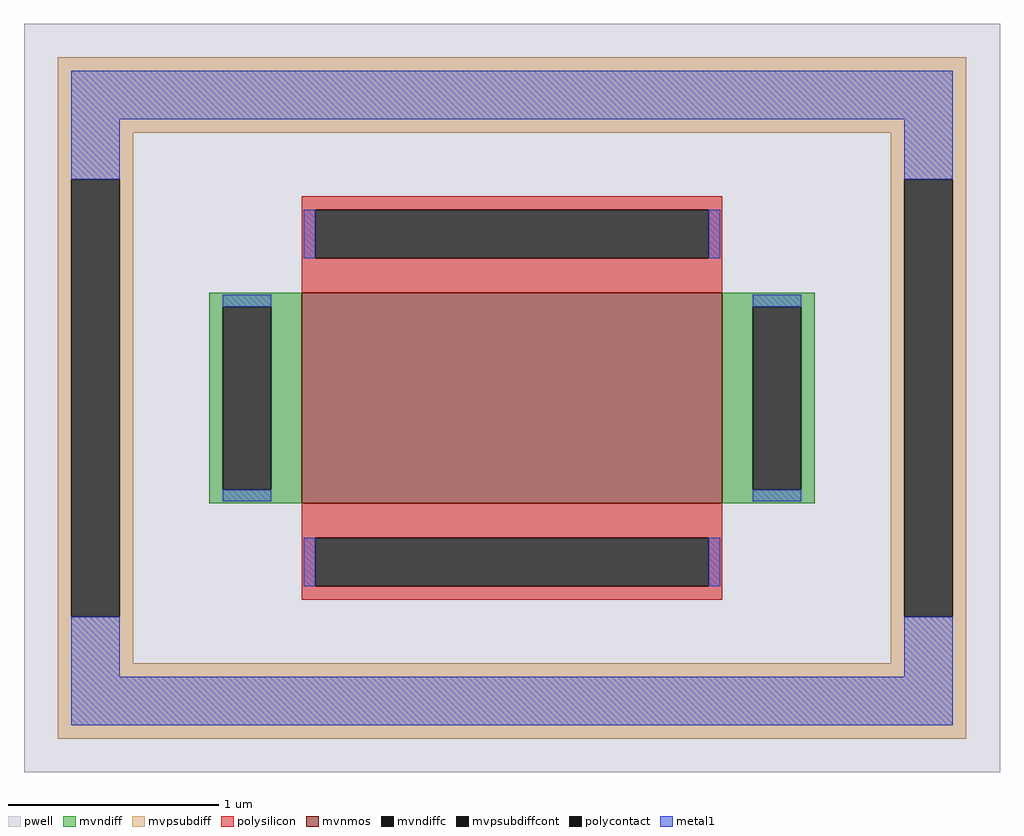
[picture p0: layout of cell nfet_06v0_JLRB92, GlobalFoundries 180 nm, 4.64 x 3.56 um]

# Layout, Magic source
magic
tech gf180mcuD
magscale 1 10
<< pwell >>
rect -464 -356 464 356
<< mvnmos >>
rect -200 -100 200 100
<< mvndiff >>
rect -288 87 -200 100
rect -288 -87 -275 87
rect -229 -87 -200 87
rect -288 -100 -200 -87
rect 200 87 288 100
rect 200 -87 229 87
rect 275 -87 288 87
rect 200 -100 288 -87
<< mvndiffc >>
rect -275 -87 -229 87
rect 229 -87 275 87
<< mvpsubdiff >>
rect -432 252 432 324
rect -432 208 -360 252
rect -432 -208 -419 208
rect -373 -208 -360 208
rect 360 208 432 252
rect -432 -252 -360 -208
rect 360 -208 373 208
rect 419 -208 432 208
rect 360 -252 432 -208
rect -432 -324 432 -252
<< mvpsubdiffcont >>
rect -419 -208 -373 208
rect 373 -208 419 208
<< polysilicon >>
rect -200 179 200 192
rect -200 133 -187 179
rect 187 133 200 179
rect -200 100 200 133
rect -200 -133 200 -100
rect -200 -179 -187 -133
rect 187 -179 200 -133
rect -200 -192 200 -179
<< polycontact >>
rect -187 133 187 179
rect -187 -179 187 -133
<< metal1 >>
rect -419 265 419 311
rect -419 208 -373 265
rect 373 208 419 265
rect -198 133 -187 179
rect 187 133 198 179
rect -275 87 -229 98
rect -275 -98 -229 -87
rect 229 87 275 98
rect 229 -98 275 -87
rect -198 -179 -187 -133
rect 187 -179 198 -133
rect -419 -265 -373 -208
rect 373 -265 419 -208
rect -419 -311 419 -265
<< properties >>
string FIXED_BBOX -396 -288 396 288
string gencell nfet_06v0
string library gf180mcu
string parameters w 1.0 l 2.0 m 1 nf 1 diffcov 100 polycov 100 guard 1 glc 1 grc 1 gtc 0 gbc 0 tbcov 100 rlcov 100 topc 1 botc 1 poverlap 0 doverlap 1 lmin 0.6 wmin 0.3 class mosfet full_metal 1 compatible {nfet_03v3 nfet_06v0 nfet_06v0_nvt}
<< end >>
